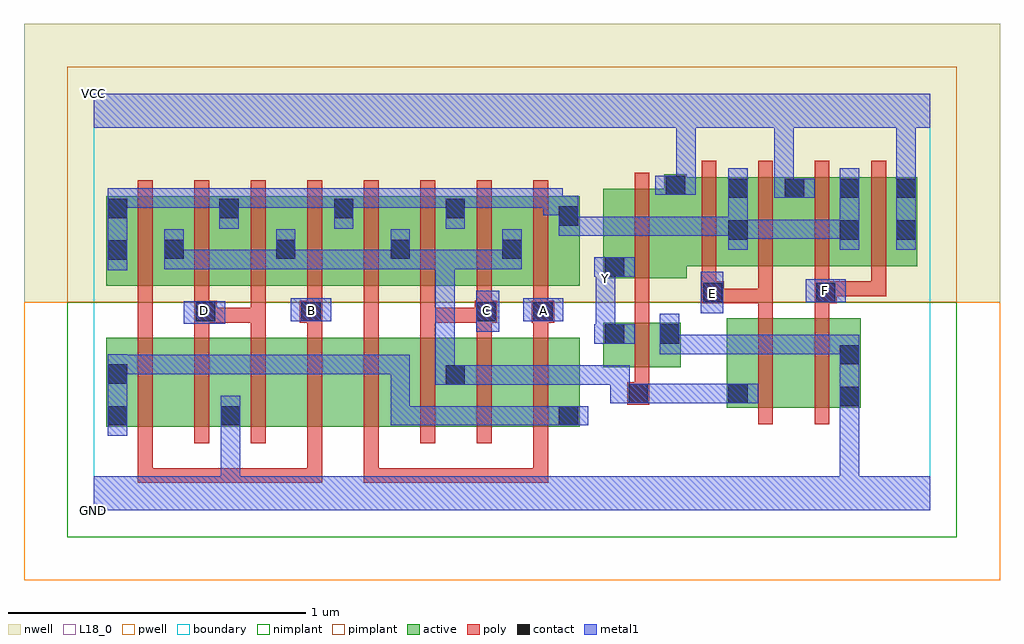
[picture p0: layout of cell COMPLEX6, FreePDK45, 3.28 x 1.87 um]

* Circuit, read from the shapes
.subckt COMPLEX6 A B C D E F GND VCC Y
M1 n1 B n2 VSUBS nfet w=0.3u l=0.05u
M2 GND D n1 VSUBS nfet w=0.3u l=0.05u
M3 n3 D GND VSUBS nfet w=0.3u l=0.05u
M4 n4 B n3 VSUBS nfet w=0.3u l=0.05u
M5 n5 A n4 VSUBS nfet w=0.3u l=0.05u
M6 n6 C n5 VSUBS nfet w=0.3u l=0.05u
M7 n7 C n6 VSUBS nfet w=0.3u l=0.05u
M8 n2 A n7 VSUBS nfet w=0.3u l=0.05u
M9 GND n6 Y VSUBS nfet w=0.15u l=0.05u
M10 n8 E n6 VSUBS nfet w=0.3u l=0.05u
M11 GND F n8 VSUBS nfet w=0.3u l=0.05u
M12 n6 B n9 n10 pfet w=0.3u l=0.05u m=2
M13 n9 D n6 n10 pfet w=0.3u l=0.05u m=2
M14 n6 A n9 n10 pfet w=0.3u l=0.05u m=2
M15 n9 C n6 n10 pfet w=0.3u l=0.05u m=2
M16 VCC n6 Y n10 pfet w=0.3u l=0.05u
M17 n9 E VCC n10 pfet w=0.3u l=0.05u m=2
M18 n9 F VCC n10 pfet w=0.3u l=0.05u m=2
.ends

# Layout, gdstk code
import gdstk
lib = gdstk.Library(unit=1e-6, precision=1e-09)
def R(c, l, rs):  # rectangles x0, y0, x1, y1
    for r in rs: c.add(gdstk.rectangle(r[:2], r[2:], *l))
def A(c, l, x, y, w, h, nx, ny, dx, dy):  # array of equal rectangles
    R(c, l, [(x+i*dx, y+j*dy, x+i*dx+w, y+j*dy+h) for i in range(nx) for j in range(ny)])
active = (1, 0)
pwell = (2, 0)
nwell = (3, 0)
nimplant = (4, 0)
pimplant = (5, 0)
poly = (9, 0)
contact = (10, 0)
metal1 = (11, 0)
L18_0 = (18, 0)
boundary = (235, 0)

complex6 = lib.new_cell('COMPLEX6')
R(complex6, active, [(0.042,0.28,0.117,0.58), (0.042,0.28,0.267,0.58), (0.267,0.28,0.497,0.58), (0.422,0.28,0.647,0.58), (0.422,0.28,0.497,0.517), (0.647,0.28,0.837,0.58), (0.837,0.28,1.027,0.58), (1.027,0.28,1.252,0.58), (1.177,0.28,1.407,0.58), (1.407,0.28,1.632,0.58), (1.557,0.28,1.632,0.385), (1.177,0.33,1.252,0.517), (2.127,0.345,2.202,0.645), (2.127,0.345,2.352,0.645), (2.352,0.345,2.577,0.645), (2.502,0.345,2.577,0.645), (1.712,0.48,1.972,0.63), (1.712,0.495,1.787,0.63), (1.897,0.495,1.972,0.63), (0.042,0.755,0.117,1.055), (0.042,0.755,0.307,1.055), (0.232,0.755,0.492,1.055), (0.417,0.755,0.682,1.055), (0.607,0.755,0.877,1.055), (0.802,0.755,0.877,1.055), (0.802,0.755,1.067,1.055), (0.992,0.755,1.252,1.055), (1.177,0.755,1.442,1.055), (1.367,0.755,1.632,1.055), (1.557,0.755,1.632,1.055), (1.712,0.78,1.992,1.08), (1.712,0.78,1.787,1.07), (1.917,0.82,2.202,1.12), (2.127,0.82,2.392,1.12), (2.317,0.82,2.577,1.12), (2.502,0.82,2.577,1.12), (2.502,0.82,2.767,1.12), (2.692,0.82,2.767,1.12), (0.417,0.827,0.492,1.055), (1.177,0.827,1.252,1.055), (0.232,0.84,0.307,1.055), (0.607,0.84,0.682,1.055), (0.992,0.84,1.067,1.055), (1.367,0.84,1.442,1.055), (2.127,0.905,2.202,1.12), (1.917,1.007,1.992,1.13), (2.317,1.007,2.392,1.12)])
R(complex6, pwell, [(-0.235,-0.235,3.045,0.7)])
R(complex6, nwell, [(-0.235,0.7,3.045,1.635)])
R(complex6, nimplant, [(-0.09,-0.09,2.9,0.7)])
R(complex6, pimplant, [(-0.09,0.7,2.9,1.49)])
A(complex6, poly, 0.147, 0.225, 0.05, 0.41, 8, 2, 0.19, 0.475)
A(complex6, poly, 0.337, 0.585, 0.05, 0.095, 7, 1, 0.19, 0)
A(complex6, poly, 2.042, 0.765, 0.05, 0.41, 4, 1, 0.19, 0)
R(complex6, poly, [(0.147,0.092,0.197,0.142), (0.147,0.092,0.197,0.142), (0.147,0.092,0.197,0.142), (0.147,0.092,0.197,0.275), (0.147,0.092,0.445,0.142), (0.395,0.092,0.445,0.142), (0.395,0.092,0.445,0.142), (0.395,0.092,0.445,0.142), (0.395,0.092,0.577,0.142), (0.527,0.092,0.577,0.142), (0.527,0.092,0.767,0.142), (0.717,0.092,0.767,0.142), (0.717,0.092,0.767,0.142), (0.717,0.092,0.767,0.142), (0.717,0.092,0.767,0.275), (0.907,0.092,0.957,0.142), (0.907,0.092,0.957,0.142), (0.907,0.092,0.957,0.142), (0.907,0.092,0.957,0.275), (0.907,0.092,1.197,0.142), (1.147,0.092,1.197,0.142), (1.147,0.092,1.197,0.142), (1.147,0.092,1.197,0.142), (1.147,0.092,1.39,0.142), (1.34,0.092,1.39,0.142), (1.34,0.092,1.39,0.142), (1.34,0.092,1.39,0.142), (1.34,0.092,1.527,0.142), (1.477,0.092,1.527,0.142), (1.477,0.092,1.527,0.275), (2.232,0.29,2.282,0.7), (2.422,0.29,2.472,0.7), (1.792,0.355,1.867,0.43), (1.817,0.38,1.867,0.475), (1.817,0.425,1.867,0.685), (0.147,0.585,0.197,0.705), (0.337,0.63,0.412,0.705), (0.362,0.63,0.577,0.68), (0.362,0.63,0.412,0.68), (0.362,0.63,0.412,0.68), (0.527,0.63,0.577,0.68), (0.527,0.63,0.577,0.75), (0.692,0.63,0.767,0.705), (0.907,0.63,0.957,0.68), (0.907,0.63,0.957,0.75), (1.097,0.63,1.147,0.68), (1.097,0.63,1.147,0.68), (1.097,0.63,1.147,0.68), (1.097,0.63,1.147,0.75), (1.097,0.63,1.33,0.68), (1.28,0.63,1.355,0.705), (1.472,0.63,1.547,0.705), (1.817,0.635,1.867,0.73), (2.232,0.65,2.282,0.745), (2.422,0.65,2.472,0.745), (0.147,0.655,0.197,0.75), (0.147,0.655,0.197,0.705), (0.337,0.655,0.387,0.75), (0.717,0.655,0.767,0.75), (1.287,0.655,1.337,0.75), (1.477,0.655,1.527,0.75), (1.817,0.68,1.867,0.775), (1.817,0.68,1.867,0.73), (2.042,0.695,2.117,0.77), (2.067,0.695,2.282,0.745), (2.232,0.695,2.282,0.745), (2.232,0.695,2.282,0.745), (2.232,0.695,2.282,0.745), (2.232,0.695,2.282,0.815), (2.422,0.695,2.497,0.77), (2.042,0.72,2.092,0.815), (2.422,0.72,2.472,0.815), (2.447,0.72,2.662,0.77), (2.447,0.72,2.497,0.77), (2.447,0.72,2.497,0.77), (2.612,0.72,2.662,0.815), (2.612,0.72,2.662,0.77), (1.817,0.725,1.867,1.135)])
R(complex6, contact, [(0.047,0.285,0.112,0.35), (0.427,0.285,0.492,0.35), (1.562,0.285,1.627,0.35), (2.507,0.35,2.572,0.415), (1.797,0.36,1.862,0.425), (2.132,0.36,2.197,0.425), (1.182,0.422,1.247,0.487), (0.047,0.425,0.112,0.49), (2.507,0.49,2.572,0.555), (1.717,0.56,1.782,0.625), (1.902,0.56,1.967,0.625), (0.342,0.635,0.407,0.7), (0.697,0.635,0.762,0.7), (1.285,0.635,1.35,0.7), (1.477,0.635,1.542,0.7), (2.047,0.7,2.112,0.765), (2.427,0.7,2.492,0.765), (1.717,0.785,1.782,0.85), (0.047,0.842,0.112,0.907), (0.237,0.845,0.302,0.91), (0.612,0.845,0.677,0.91), (0.997,0.845,1.062,0.91), (1.372,0.845,1.437,0.91), (2.132,0.91,2.197,0.975), (2.507,0.91,2.572,0.975), (2.697,0.91,2.762,0.975), (1.562,0.957,1.627,1.022), (0.047,0.982,0.112,1.047), (0.422,0.982,0.487,1.047), (0.807,0.982,0.872,1.047), (1.182,0.982,1.247,1.047), (2.132,1.05,2.197,1.115), (2.322,1.05,2.387,1.115), (2.507,1.05,2.572,1.115), (2.697,1.05,2.762,1.115), (1.922,1.06,1.987,1.125)])
R(complex6, metal1, [(0,0,2.81,0.115), (0.427,0.05,0.492,0.115), (0.427,0.05,0.492,0.115), (0.427,0.05,0.492,0.115), (0.427,0.05,0.492,0.115), (0.427,0.05,0.492,0.315), (2.507,0.05,2.572,0.38), (0.047,0.25,0.112,0.525), (0.427,0.25,0.492,0.385), (0.997,0.285,1.062,0.35), (0.997,0.285,1.062,0.35), (0.997,0.285,1.062,0.35), (0.997,0.285,1.3,0.35), (0.997,0.285,1.062,0.522), (1.235,0.285,1.3,0.35), (1.235,0.285,1.3,0.35), (1.235,0.285,1.3,0.35), (1.235,0.285,1.455,0.35), (1.39,0.285,1.455,0.35), (1.39,0.285,1.455,0.35), (1.39,0.285,1.455,0.35), (1.39,0.285,1.455,0.35), (1.39,0.285,1.455,0.35), (1.39,0.285,1.592,0.35), (1.527,0.285,1.662,0.35), (2.507,0.315,2.572,0.38), (2.507,0.315,2.572,0.38), (2.507,0.315,2.572,0.38), (2.507,0.315,2.572,0.38), (2.507,0.315,2.572,0.59), (1.735,0.36,1.8,0.425), (1.735,0.36,1.827,0.425), (1.735,0.36,1.8,0.487), (1.762,0.36,1.897,0.425), (1.832,0.36,2.025,0.425), (1.96,0.36,2.025,0.425), (1.96,0.36,2.035,0.425), (1.97,0.36,2.035,0.425), (1.97,0.36,2.162,0.425), (2.097,0.36,2.232,0.425), (1.147,0.422,1.282,0.487), (1.147,0.422,1.212,0.875), (1.217,0.422,1.282,0.487), (1.217,0.422,1.282,0.487), (1.217,0.422,1.455,0.487), (1.39,0.422,1.455,0.487), (1.39,0.422,1.455,0.487), (1.39,0.422,1.455,0.487), (1.39,0.422,1.592,0.487), (1.527,0.422,1.592,0.487), (1.527,0.422,1.592,0.487), (1.527,0.422,1.592,0.487), (1.527,0.422,1.8,0.487), (1.735,0.422,1.8,0.487), (0.047,0.457,0.112,0.522), (0.047,0.457,0.112,0.522), (0.047,0.457,0.25,0.522), (0.185,0.457,0.25,0.522), (0.185,0.457,0.25,0.522), (0.185,0.457,0.25,0.522), (0.185,0.457,0.44,0.522), (0.375,0.457,0.44,0.522), (0.375,0.457,0.44,0.522), (0.375,0.457,0.44,0.522), (0.375,0.457,0.625,0.522), (0.56,0.457,0.625,0.522), (0.56,0.457,0.625,0.522), (0.56,0.457,0.625,0.522), (0.56,0.457,0.925,0.522), (0.86,0.457,0.925,0.522), (0.86,0.457,0.925,0.522), (0.86,0.457,0.925,0.522), (0.86,0.457,1.062,0.522), (0.997,0.457,1.062,0.522), (1.902,0.525,2.035,0.59), (1.902,0.525,1.967,0.66), (1.97,0.525,2.035,0.59), (1.97,0.525,2.215,0.59), (2.15,0.525,2.215,0.59), (2.15,0.525,2.215,0.59), (2.15,0.525,2.215,0.59), (2.15,0.525,2.387,0.59), (2.322,0.525,2.387,0.59), (2.322,0.525,2.387,0.59), (2.322,0.525,2.387,0.59), (2.322,0.525,2.572,0.59), (2.507,0.525,2.572,0.59), (2.507,0.525,2.572,0.59), (2.507,0.525,2.572,0.59), (2.507,0.525,2.572,0.59), (1.682,0.56,1.817,0.625), (1.687,0.56,1.752,0.777), (1.285,0.6,1.362,0.737), (0.302,0.627,0.442,0.702), (0.662,0.635,0.797,0.712), (1.442,0.635,1.577,0.712), (2.04,0.662,2.115,0.802), (2.392,0.7,2.527,0.777), (1.687,0.712,1.752,0.85), (1.682,0.785,1.817,0.85), (1.687,0.785,1.752,0.85), (0.047,0.807,0.112,1.082), (0.237,0.81,0.302,0.875), (0.237,0.81,0.302,0.875), (0.237,0.81,0.302,0.945), (0.237,0.81,0.44,0.875), (0.375,0.81,0.44,0.875), (0.375,0.81,0.44,0.875), (0.375,0.81,0.44,0.875), (0.375,0.81,0.677,0.875), (0.612,0.81,0.677,0.875), (0.612,0.81,0.677,0.875), (0.612,0.81,0.677,0.945), (0.612,0.81,0.867,0.875), (0.802,0.81,0.867,0.875), (0.802,0.81,0.867,0.875), (0.802,0.81,0.867,0.875), (0.802,0.81,1.062,0.875), (0.997,0.81,1.062,0.875), (0.997,0.81,1.062,0.875), (0.997,0.81,1.062,0.945), (0.997,0.81,1.212,0.875), (1.147,0.81,1.212,0.875), (1.147,0.81,1.212,0.875), (1.147,0.81,1.212,0.875), (1.147,0.81,1.212,0.875), (1.147,0.81,1.212,0.875), (1.147,0.81,1.437,0.875), (1.372,0.81,1.437,0.945), (2.132,0.875,2.197,1.15), (2.507,0.875,2.572,1.15), (2.697,0.875,2.762,1.15), (2.132,0.912,2.197,0.977), (2.132,0.912,2.197,0.977), (2.132,0.912,2.427,0.977), (2.362,0.912,2.427,0.977), (2.362,0.912,2.427,0.977), (2.362,0.912,2.427,0.977), (2.362,0.912,2.572,0.977), (1.562,0.922,1.627,1.057), (1.562,0.922,1.8,0.987), (1.735,0.922,1.8,0.987), (1.735,0.922,1.8,0.987), (1.735,0.922,1.8,0.987), (1.735,0.922,1.955,0.987), (1.89,0.922,1.955,0.987), (1.89,0.922,1.955,0.987), (1.89,0.922,1.955,0.987), (1.89,0.922,2.035,0.987), (1.97,0.922,2.035,0.987), (1.97,0.922,2.197,0.987), (0.422,0.947,0.487,1.082), (0.807,0.947,0.872,1.082), (1.182,0.947,1.247,1.082), (1.51,0.992,1.627,1.057), (1.51,0.992,1.575,1.082), (0.047,1.017,0.112,1.082), (0.047,1.017,0.112,1.082), (0.047,1.017,0.25,1.082), (0.185,1.017,0.25,1.082), (0.185,1.017,0.25,1.082), (0.185,1.017,0.25,1.082), (0.185,1.017,0.487,1.082), (0.422,1.017,0.487,1.082), (0.422,1.017,0.487,1.082), (0.422,1.017,0.73,1.082), (0.665,1.017,0.73,1.082), (0.665,1.017,0.73,1.082), (0.665,1.017,0.73,1.082), (0.665,1.017,0.872,1.082), (0.807,1.017,0.872,1.082), (0.807,1.017,0.872,1.082), (0.807,1.017,1.062,1.082), (0.997,1.017,1.062,1.082), (0.997,1.017,1.062,1.082), (0.997,1.017,1.062,1.082), (0.997,1.017,1.247,1.082), (1.182,1.017,1.247,1.082), (1.182,1.017,1.247,1.082), (1.182,1.017,1.455,1.082), (1.39,1.017,1.455,1.082), (1.39,1.017,1.575,1.082), (2.287,1.05,2.352,1.35), (2.287,1.05,2.422,1.115), (1.887,1.06,2.022,1.125), (1.957,1.06,2.022,1.125), (1.957,1.06,2.022,1.125), (1.957,1.06,2.022,1.35), (2.697,1.085,2.762,1.15), (2.697,1.085,2.762,1.15), (2.697,1.085,2.762,1.35), (0,1.285,2.81,1.4), (2.287,1.285,2.352,1.35), (2.287,1.285,2.352,1.35)])
R(complex6, L18_0, [(0,0,2.81,0.115), (0.427,0.05,0.492,0.115), (0.427,0.05,0.492,0.115), (0.427,0.05,0.492,0.115), (0.427,0.05,0.492,0.115), (0.427,0.05,0.492,0.315), (2.507,0.05,2.572,0.38), (0.427,0.25,0.492,0.385), (2.507,0.315,2.572,0.38), (2.507,0.315,2.572,0.38), (2.507,0.315,2.572,0.38), (2.507,0.315,2.572,0.38), (2.507,0.315,2.572,0.59), (1.902,0.525,1.967,0.66), (1.902,0.525,2.035,0.59), (1.97,0.525,2.035,0.59), (1.97,0.525,2.215,0.59), (2.15,0.525,2.215,0.59), (2.15,0.525,2.215,0.59), (2.15,0.525,2.215,0.59), (2.15,0.525,2.387,0.59), (2.322,0.525,2.387,0.59), (2.322,0.525,2.387,0.59), (2.322,0.525,2.387,0.59), (2.322,0.525,2.572,0.59), (2.507,0.525,2.572,0.59), (2.507,0.525,2.572,0.59), (2.507,0.525,2.572,0.59), (2.507,0.525,2.572,0.59), (1.682,0.56,1.817,0.625), (1.687,0.56,1.752,0.777), (1.285,0.6,1.362,0.737), (0.302,0.627,0.442,0.702), (0.662,0.635,0.797,0.712), (1.442,0.635,1.577,0.712), (0.337,0.637,0.402,0.702), (0.697,0.637,0.762,0.702), (1.287,0.637,1.352,0.702), (1.477,0.637,1.542,0.702), (2.04,0.662,2.115,0.802), (2.047,0.697,2.112,0.762), (2.392,0.7,2.527,0.777), (2.427,0.707,2.492,0.772), (1.687,0.712,1.752,0.85), (1.687,0.747,1.752,0.812), (1.682,0.785,1.817,0.85), (1.687,0.785,1.752,0.85), (2.697,0.875,2.762,1.15), (2.287,1.05,2.422,1.115), (2.287,1.05,2.352,1.35), (1.887,1.06,2.022,1.125), (1.957,1.06,2.022,1.125), (1.957,1.06,2.022,1.125), (1.957,1.06,2.022,1.35), (2.697,1.085,2.762,1.15), (2.697,1.085,2.762,1.15), (2.697,1.085,2.762,1.35), (0,1.285,2.81,1.4), (2.287,1.285,2.352,1.35), (2.287,1.285,2.352,1.35)])
R(complex6, boundary, [(0,0,2.81,1.4)])
complex6.add(gdstk.Label('A', (1.51,0.67), layer=11, texttype=0))
complex6.add(gdstk.Label('B', (0.73,0.67), layer=11, texttype=0))
complex6.add(gdstk.Label('C', (1.32,0.67), layer=11, texttype=0))
complex6.add(gdstk.Label('D', (0.37,0.67), layer=11, texttype=0))
complex6.add(gdstk.Label('E', (2.08,0.73), layer=11, texttype=0))
complex6.add(gdstk.Label('F', (2.46,0.74), layer=11, texttype=0))
complex6.add(gdstk.Label('Y', (1.72,0.78), layer=11, texttype=0))
complex6.add(gdstk.Label('VCC', (0,1.4), layer=11, texttype=0))
complex6.add(gdstk.Label('GND', (0,0), layer=11, texttype=0))

lib.write_gds('COMPLEX6.gds')
